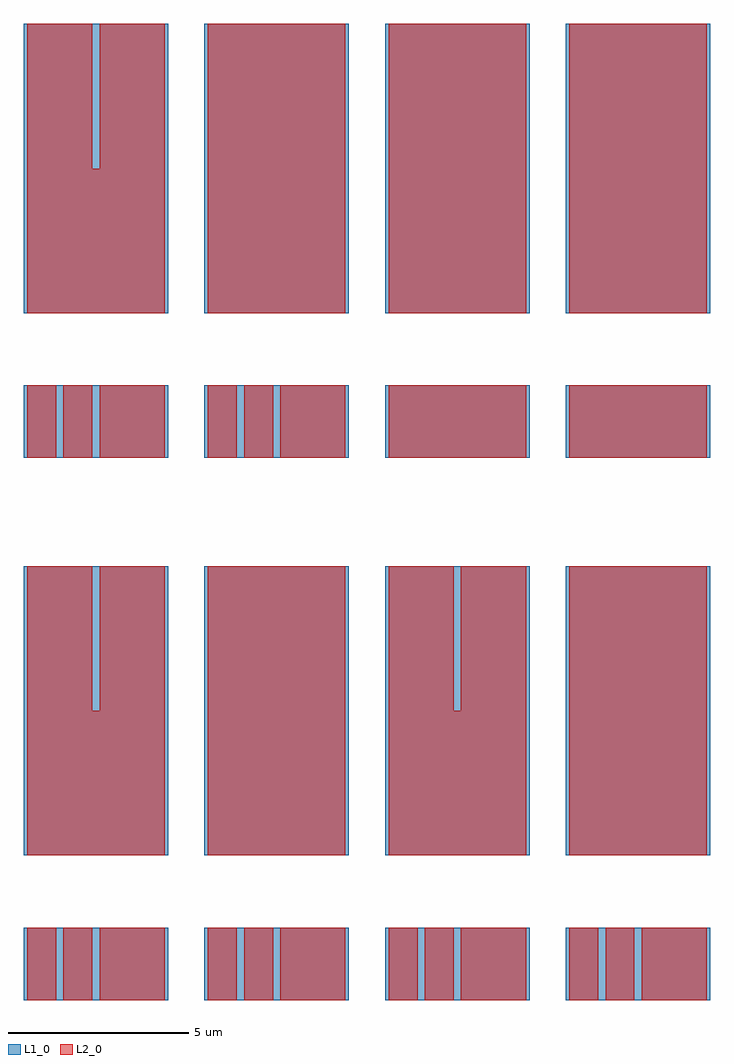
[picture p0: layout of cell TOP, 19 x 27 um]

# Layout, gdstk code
from math import pi, radians
import gdstk
lib = gdstk.Library(unit=1e-6, precision=1e-09)
def R(c, l, rs):  # rectangles x0, y0, x1, y1
    for r in rs: c.add(gdstk.rectangle(r[:2], r[2:], *l))
L1_0 = (1, 0)
L2_0 = (2, 0)

c_a = lib.new_cell('A')
R(c_a, L1_0, [(0,0,1,2)])

c_b = lib.new_cell('B')
R(c_b, L1_0, [(1,0,2,2)])
c_b.add(gdstk.Reference(c_a, (0,0)))
r = gdstk.Reference(c_a, (4,0), rotation=pi/2); r.repetition = gdstk.Repetition(2, 1, v1=(0,1), v2=(0,0)); c_b.add(r)

c_c = lib.new_cell('C')
R(c_c, L1_0, [(5,4,9,12)])
R(c_c, L2_0, [(0.1,0,0.9,2), (1.1,0,1.9,2), (2.1,0,3.9,1), (5.1,0,5.9,2), (6.1,0,6.9,2), (7.1,0,8.9,1), (2.1,1,3.9,2), (7.1,1,8.9,2), (0.1,4,3.9,6), (5.1,4,8.9,12), (0.1,6,3.9,8), (0.1,8,1.9,12), (2.1,8,3.9,12)])
r = gdstk.Reference(c_b, (0,0)); r.repetition = gdstk.Repetition(2, 1, v1=(5,0), v2=(0,0)); c_c.add(r)
c_c.add(gdstk.Reference(c_b, (4,4), rotation=pi/2, magnification=2))

top = lib.new_cell('TOP')
R(top, L1_0, [(10,15,14,17), (15,15,19,17), (10,19,14,27), (15,19,19,27)])
R(top, L2_0, [(10.1,15,13.9,17), (15.1,15,18.9,17), (10.1,19,13.9,27), (15.1,19,18.9,27)])
top.add(gdstk.Reference(c_c, (0,15)))
r = gdstk.Reference(c_c, (0,0)); r.repetition = gdstk.Repetition(2, 1, v1=(10,0), v2=(0,0)); top.add(r)

lib.write_gds('TOP.gds')
